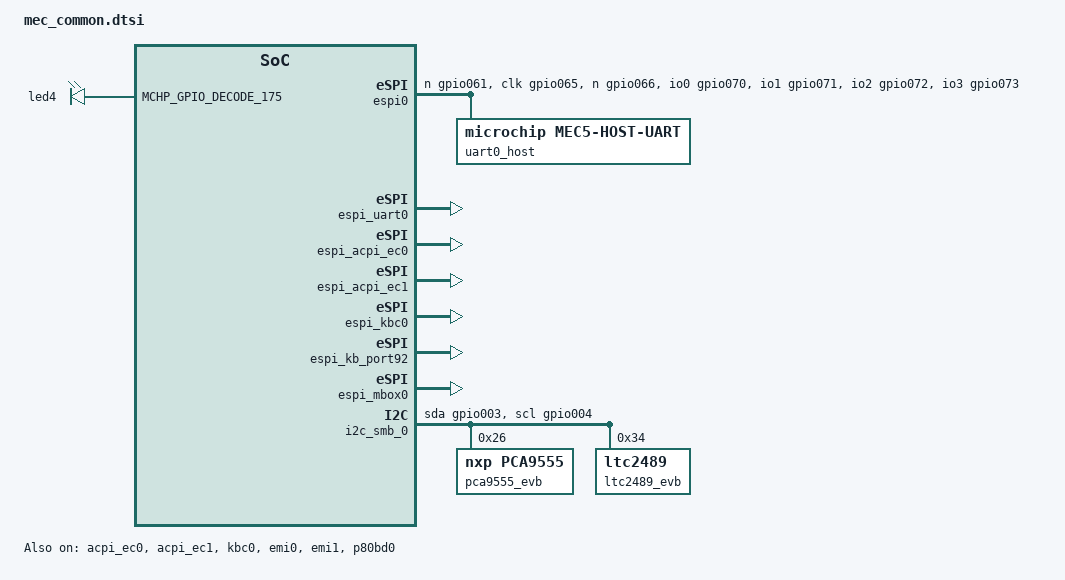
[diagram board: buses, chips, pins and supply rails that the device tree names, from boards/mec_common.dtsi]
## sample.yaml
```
sample:
  name: Exercise eSPI driver connected to real eSPI Host controller
tests:
  sample.boards.mec_assy6941.espi_target:
    build_only: true
    platform_allow:
      - mec_assy6941_mec1743qlj
      - mec_assy6941_mec1743qsz
      - mec_assy6941_mec1753qlj
      - mec_assy6941_mec1753qsz
    tags: drivers espi
```

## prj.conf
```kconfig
CONFIG_LOG=y
CONFIG_LOG_MODE_IMMEDIATE=y
#CONFIG_LOG_MODE_MINIMAL=y
# !!! WARNING: deferred and buffer size not working.
# !!! log_panic() does not output messages.
#CONFIG_LOG_MODE_DEFERRED=y
#CONFIG_LOG_BUFFER_SIZE=4096
CONFIG_LOG_BACKEND_UART=y
#CONFIG_LOG_BACKEND_SWO=y
#CONFIG_LOG_BACKEND_SWO_REF_FREQ_HZ=96000000
#CONFIG_LOG_BACKEND_SWO_FREQ_HZ=4000000

CONFIG_GPIO=y
CONFIG_PINCTRL=y
CONFIG_LED=y
CONFIG_SPI=y
CONFIG_SPI_EXTENDED_MODES=y
# CONFIG_SPI_MEC5_QSPI_INTERRUPT=y
CONFIG_SERIAL=y
CONFIG_CONSOLE=y
CONFIG_UART_CONSOLE=y
CONFIG_I2C=y
CONFIG_ESPI=y
CONFIG_ESPI_MEC5=y
CONFIG_ESPI_PERIPHERAL_8042_KBC=y
CONFIG_ESPI_PERIPHERAL_EC_HOST_CMD=y
CONFIG_ESPI_PERIPHERAL_ACPI_SHM_REGION=y
CONFIG_ESPI_PERIPHERAL_CUSTOM_OPCODE=y
CONFIG_ESPI_AUTOMATIC_WARNING_ACKNOWLEDGE=n
CONFIG_ESPI_AUTOMATIC_BOOT_DONE_ACKNOWLEDGE=n
CONFIG_ESPI_LOG_LEVEL_DBG=y

CONFIG_PM=n

# CONFIG_APP_INVERT_ESPI_CS_N=y

# Help debug new code
# CONFIG_DEBUG_COREDUMP=y
# CONFIG_TRAP_UNALIGNED_ACCESS=y
# CONFIG_SOC_MEC5_DEBUG_AND_TRACING=y
# CONFIG_SOC_MEC5_DEBUG_AND_SWV_TRACING=y
# CONFIG_DEBUG=y
```

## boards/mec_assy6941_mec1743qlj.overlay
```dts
/*
 * Copyright (c) 2023 Microchip Technology Inc.
 *
 * SPDX-License-Identifier: Apache-2.0
 */

/* mec_assy6941 EVB with MEC1743Q-LJ daughter card
 * MEC1743 does not have an internal SPI flash.
 */

#include "mec_common.dtsi"

&qspi0 {
	status = "okay";
	pinctrl-0 = < &qspi_shd_cs0_n_gpio055
		      &qspi_shd_clk_gpio056
		      &qspi_shd_io0_gpio223
		      &qspi_shd_io1_gpio224
		      &qspi_shd_io2_gpio227
		      &qspi_shd_io3_gpio016 >;
	pinctrl-names = "default";
};
```

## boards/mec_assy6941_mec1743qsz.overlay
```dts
/*
 * Copyright (c) 2023 Microchip Technology Inc.
 *
 * SPDX-License-Identifier: Apache-2.0
 */

/* mec_assy6941 EVB with MEC1743Q-SZ daughter card
 * MEC1743 does not have an internal SPI flash.
 */

#include "mec_common.dtsi"

&qspi0 {
	status = "okay";
	pinctrl-0 = < &qspi_shd_cs0_n_gpio055
		      &qspi_shd_clk_gpio056
		      &qspi_shd_io0_gpio223
		      &qspi_shd_io1_gpio224
		      &qspi_shd_io2_gpio227
		      &qspi_shd_io3_gpio016 >;
	pinctrl-names = "default";
};
```

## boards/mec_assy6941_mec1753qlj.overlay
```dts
/*
 * Copyright (c) 2023 Microchip Technology Inc.
 *
 * SPDX-License-Identifier: Apache-2.0
 */

/* mec_assy6941 EVB with MEC1753Q-LJ daughter card
 * MEC1753 does not have an internal SPI flash.
 */

#include "mec_common.dtsi"

&qspi0 {
	status = "okay";
	pinctrl-0 = < &qspi_shd_cs0_n_gpio055
		      &qspi_shd_clk_gpio056
		      &qspi_shd_io0_gpio223
		      &qspi_shd_io1_gpio224
		      &qspi_shd_io2_gpio227
		      &qspi_shd_io3_gpio016 >;
	pinctrl-names = "default";
};
```

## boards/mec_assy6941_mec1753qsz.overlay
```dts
/*
 * Copyright (c) 2023 Microchip Technology Inc.
 *
 * SPDX-License-Identifier: Apache-2.0
 */

/* mec_assy6941 EVB with MEC1753Q-SZ daughter card
 * MEC1753 does not have an internal SPI flash.
 */

#include "mec_common.dtsi"

&qspi0 {
	status = "okay";
	pinctrl-0 = < &qspi_shd_cs0_n_gpio055
		      &qspi_shd_clk_gpio056
		      &qspi_shd_io0_gpio223
		      &qspi_shd_io1_gpio224
		      &qspi_shd_io2_gpio227
		      &qspi_shd_io3_gpio016 >;
	pinctrl-names = "default";
};
```

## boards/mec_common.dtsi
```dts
/*
 * Copyright (c) 2024 Microchip Technology Inc.
 *
 * SPDX-License-Identifier: Apache-2.0
 */

#include <zephyr/dt-bindings/gpio/gpio.h>
#include <zephyr/dt-bindings/gpio/microchip-xec-gpio.h>
#include <zephyr/dt-bindings/espi/mchp-mec5-espi.h>

/* Sample runs MEC_ASSY6941 board with MEC174x or MEC175x CPU card installed.
 * -------------------------------------------
 * MEC5_ASSY6941 EVB with MEC1743Q-LJ CPU card
 * EVB power !! Selected one !!
 * Selected: Jumper on J1 5-6 selects +5V 2.1mm ID 5.5mm OD barrel connector from
 *  an external +5V power brick.
 * Jumper on J1 1-2 uses +5VCC_IN from edge connector Z1
 * Jumper on J1 3-4 uses VVD_+5V from variable voltage header J2-21
 * Jumper on J1 7-8 uses MCP2200_VBUS from MCP2200 using USB connector P2
 * Jumper on J1 9-10 uses USBPWR_FT4222 USB connector J62
 *
 * Configure VTR2 as 1.8V rail
 * JP32 2-3 +1.8V_STBY from 1.8V regulator
 * JP45 1-2 connect +1.8V_STBY to J68-3
 * JP68 3-4 connect +1.8V_STBY to JP62-1 and Q switch Q16
 * JP62 1-2 connect +1.8V_STBY to VTR2 bypassing Q switch
 * JP65 1-2 connects VTR2 to VCHIP_VTR2
 * NOTE: VTR3 is always 1.8V
 *
 * Use +3.3V and +1.8V generated by EVB regulators
 * JP231 1-2, JP33 2-3, JP31 2-3, JP32 2-3
 *
 * VTR1 voltage select +3.3V_STBY
 * JP43 1-2, JP159 1-2, JP58 1-2, JP60 1-2
 *
 * VTR2 voltage select +1.8V_STBY
 * JP45 1-2, J68 3-4, JP62 1-2, JP65 1-2
 *
 * VTR3 voltage select +1.8V_STBY
 * JP45 1-2, JP160 1-2, JP66 1-2, JP68 1-2
 *
 * Straps:
 * UART_BSTRAP: JP1
 * CR_STRAP: JP2
 * JTAG_STRAP: JP3
 * CMP_STRAP: JP4
 * PWRGD_STRAP: JP5
 * VTR2_STRAP: JP6
 * BSS_STRAP: JP7
 * BSS_STRAP: JP8 2-3
 * CRISIS_RECOVERY_STRAP: JP9
 *
 * Enable EVB eSPI voltage translators
 * JP110 1-2 U10 OE connected to VTR3 (enabled)
 * JP116 1-2 U12 and U13 nOE connected to VTR3 (disabled)
 *
 * The board acting as eSPI emulated host must have its QSPI
 * SHD_xxx pins on +1.8V. QSPI SHD pins are all on the VTR2 rail.
 * Connect QSPI pins from emulated Host board to this board:
 * SHD_nCS1 ->  ESPI_nCS J46-1  <-> U10 <-> ESPI_nRESET_R J52-19, JP114-1
 * SHD_CLK  ->  ESPI_CLK J46-3  <-> U10 <-> ESPI_CLK_R    J52-13
 * SHD_IO0  <-> ESPI_IO0 J46-5  <-> U10 <-> ESPI_IO0_R    J52-7
 * SHD_IO1  <-> ESPI_IO0 J46-7  <-> U10 <-> ESPI_IO1_R    J52-5
 * SHD_IO2  <-> ESPI_IO0 J46-9  <-> U10 <-> ESPI_IO2_R    J52-3
 * SHD_IO3  <-> ESPI_IO0 J46-11 <-> U10 <-> ESPI_IO3_R    J52-1
 *
 * Emulated eSPI Host uses a GPIO as ESPI_nRESET to Target
 * H2T_ESPI_nRESET -> ESPI_nRESET J46-15
 *
 * Emulated eSPI Host uses a GPIO as ESPI_nALERT to Target
 * H2T_ESPI_nALERT -> ESPI_nALERT J46-13
 *
 * Synchronization signals:
 * H2T_VCC_PWRGD -> VCC_PWRGD_ALT GPIO242 Func 3
 *
 * T2H_nREADY <- GPIO031(VTR1) output active low. Init to high
 *		J41-7
 *		JP75 21-22 100K pull-up. Do not install
 *		Pull-up enabled on eSPI Host Emulation board
 *
 * GPIO175/CMP_VOUT1/PWM8_ALT on schematic, LED4 on silkscreen.
 * JP19 16-17 connects GPIO175 as CMP_VOUT1
 *
 * I2C00_SDA/SCL = GPIO003/004 selection
 * Install Jumpers on JP15 4-5, JP15 7-8, JP27 31-32, JP27 34-35
 * If pull-ups on the EVB are required:
 * Install Jumper JP70 19-20 7.5K pull-up to VTR1 for I2C00_SCL
 * Install Jumper JP70 21-22 7.5K pull-up to VTR1 for I2C00_SDA
 *
 * I2C devices on EXTERNAL_SDA/SCL bus
 *
 * U4 is PCA9555 I2C GPIO expander
 * JP52 1-2 use +3.3V_STBY
 * JP61 1-2, 3-4 connects I2C00_SCL and I2C00_SDA to EXTERNAL_SCLK/SDATA
 * JP55 selects I2C address
 * 1-2 = A0, 3-4 = A1, 5-6 = A2 all pulled-up by default. Install jumper to ground signals.
 * Installed jumper on JP53 1-2. I2C Address = 0x26
 *
 * U18 is LTC2489CDE I2C 4-channel delta-sigma ADC
 * NOTE: LTC2489 is powered by +5V.
 * Address select pins CA0, CA1 both pulled high. Install jumpers to ground signals.
 * Installed jumpers on JP121 1-2 and 3-4. I2C Address = 0x34
 * VRef=3V J51 1-2
 * Channel 0 connected to Vin=2.048V JP120 1-2, J51 3-4
 */

/ {
	chosen {
		espi,os-acpi = &acpi_ec0;
		espi,host-cmd-acpi = &acpi_ec1;
		espi,host-mailbox = &mbox0;
		espi,host-shm = &emi0;
		espi,host-em8042 = &kbc0;
		espi,host-uart = &uart0;
		espi,host-io-capture = &p80bd0;
	};

	aliases {
		spi0 = &qspi0;
		led0 = &led4;
		i2c0 = &i2c_smb_0;
		i2c-0 = &i2c_smb_0;
	};

	leds {
		compatible = "gpio-leds";
		led4: led_0 {
			gpios = <MCHP_GPIO_DECODE_175 GPIO_ACTIVE_HIGH>;
		};
	};

	/* zephyr,user is a special case node for application & test use
	 * This node does not require a YAML binding file.
	 * espi-gpio pins
	 * index 0 = Target nREADY output to Host eSPI emulator
	 * index 1 = VCC_PWRGD_ALT drivent by external eSPI Emulated Host board
	 * In application code use GPIO_DT_SPEC_GET_BY_IDX() macro.
	 */
	zephyr,user {
		espi-gpios = <MCHP_GPIO_DECODE_031 GPIO_ACTIVE_HIGH>,
			     <MCHP_GPIO_DECODE_242 0>;
		pinctrl-0 = <&vcc_pwrgd_alt_gpio242 &pwrok_gpio106>;
		pinctrl-names = "default";
	};
};

&i2c00_scl_gpio004 {
	drive-open-drain;
	output-enable;
	output-high;
	drive-strength = "4x";
};

&i2c00_sda_gpio003 {
	drive-open-drain;
	output-enable;
	output-high;
	drive-strength = "4x";
};

/* ---- eSPI and peripheral channel devices ---- */

&espi0 {
	status = "okay";
	pinctrl-0 = < &espi_reset_n_gpio061
		      &espi_clk_gpio065 &espi_cs_n_gpio066
		      &espi_io0_gpio070 &espi_io1_gpio071
		      &espi_io2_gpio072 &espi_io3_gpio073 >;
	pinctrl-names = "default";
	host-memmap-addr-high = <0x10>; /* bits[47:32] of Host address for memory mapped LDNs */
	sram-bar-addr-high = <0x20>; /* bits[47:32] of Host address for SRAM BARs */

	/* We create a node here for the UART we will expose to the Host
	 * Doing this makes sure this node is a child of espi0 required
	 * by espi0's driver.
	 */
	uart0_host: uart0_host {
		compatible = "microchip,mec5-host-uart";
		pinctrl-0 = < &uart0_tx_gpio104 &uart0_rx_gpio105 >;
		pinctrl-names = "default";
		hwdev = <&uart0>;
		host-infos = <&espi_uart0>;
		status = "okay";
	};
};

/* Map UART0 to Host I/O address space */
&espi_uart0 {
	host-address = <0x3f8>;
	sirqs = <4>;
	status = "okay";
};

/* Enable eSPI SRAM BAR0 to map a 256 byte region of EC SRAM to Host
 * address space with read-only access.
 * ISSUE: region-base, shouldn't this be the address of an application buffer?
 */
&espi_sram_bar0 {
	host-address-lsw = <0x20000000>;
	region-base = <0x118000>;
	region-size = "256B";
	access = "READ_ONLY";
	status = "okay";
};

/* Enable eSPI SRAM BAR1 to map a 256 byte region of EC SRAM to Host
 * address space with write-only access.
 */
&espi_sram_bar1 {
	host-address-lsw = <0x20001000>;
	region-base = <0x118100>;
	region-size = "256B";
	access = "WRITE_ONLY";
	status = "okay";
};

/* eSPI Host OS ACPI_EC device */
&acpi_ec0 {
	compatible = "microchip,mec5-acpi-ec-os";
	host-infos = <&espi_acpi_ec0>;
	status = "okay";
};

&espi_acpi_ec0 {
	host-address = <0x62>;
	sirqs = <5>;
	sirq-names = "ec_obf";
	status = "okay";
};

/* eSPI Host command ACPI_EC device */
&acpi_ec1 {
	compatible = "microchip,mec5-acpi-ec-hcmd";
	host-infos = <&espi_acpi_ec1>;
	status = "okay";
};

&espi_acpi_ec1 {
	host-address = <0x200>;
	sirqs = <0xff>;
	sirq-names = "ec_obf";
	status = "okay";
};

/* Use eSPI Host KBC driver and map KBC0 and KB Port92h to Host I/O space */
&kbc0 {
	compatible = "microchip,mec5-kbc";
	host-infos = <&espi_kbc0 &espi_kb_port92>;
	status = "okay";
};

&espi_kbc0 {
	host-address = <0x60>;
	sirqs = <1 12>;
	sirq-names = "kirq", "mirq";
	status = "okay";
};

&espi_kb_port92 {
	host-address = <0x92>;
	status = "okay";
};

/* Use eSPI Mailbox driver and map mailbox to Host I/O space */
&mbox0 {
	compatible="microchip,mec5-mailbox";
	host-infos = <&espi_mbox0>;
	status = "okay";
};

&espi_mbox0 {
	host-address = <0x300>;
	sirqs = <0xff 0xff>;
	status = "okay";
};

/* Map EMI0 to Host memory address space. */
&emi0 {
	compatible = "microchip,mec5-shm-emi";
	host-infos = <&espi_emi0>;
	status = "okay";
};

&espi_emi0 {
	host-address = <0x10000000>;
	host-mem-space;
};

/* Map EMI1 to Host memory address space */
&emi1 {
	compatible = "microchip,mec5-shm-emi";
	host-infos = <&espi_emi1>;
	status = "okay";
};

&espi_emi1 {
	host-address = <0x10001000>;
	host-mem-space;
};

/* eSPI Host I/O capture device. Map 4-byte Host I/O capture range and
 * optional 1-byte I/O alias.
 */
&p80bd0 {
	compatible = "microchip,mec5-bdp";
	host-infos = <&espi_bdp0 &espi_bdpa0>;
	status = "okay";
};

&espi_bdp0 {
	host-address = <0x80>;
};

&espi_bdpa0 {
	host-address = <0x90>;
	bdp-host-alias-byte-lane = <1>;
};

&i2c_smb_0 {
	status = "okay";
	port_sel = < 0 >;
	sda-gpios = < MCHP_GPIO_DECODE_003 0 >;
	scl-gpios = < MCHP_GPIO_DECODE_004 0 >;
	pinctrl-0 = < &i2c00_sda_gpio003 &i2c00_scl_gpio004 >;
	pinctrl-names = "default";

	pca9555_evb: pca9555@26 {
		compatible = "nxp,pca9555";
		reg = <0x26>;
		gpio-controller;
		#gpio-cells = <2>;
	};

	ltc2489_evb: ltc2489@34 {
		/* No Zephyr driver exists */
		reg = <0x34>;
		#io-channels-cells = <1>;
	};
};
```

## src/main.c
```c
/*
 * Copyright (c) 2023 Microchip Technology, Inc.
 *
 * SPDX-License-Identifier: Apache-2.0
 */

#include <errno.h>
#include <stdint.h>
#include <string.h>
#include <soc.h>
#include <mec_acpi_ec_api.h>
#include <mec_espi_api.h>
#include <mec_pcr_api.h>

#include <zephyr/device.h>
#include <zephyr/devicetree.h>
#include <zephyr/kernel.h>
#include <zephyr/drivers/espi.h>
#include <zephyr/drivers/gpio.h>
#include <zephyr/drivers/led.h>
#include <zephyr/drivers/pinctrl.h>
#include <zephyr/sys/sys_io.h>

#include <zephyr/logging/log_ctrl.h>
#include <zephyr/logging/log.h>
LOG_MODULE_REGISTER(app, CONFIG_LOG_DEFAULT_LEVEL);

#include "espi_debug.h"

/* #define APP_ESPI_EVENT_CAPTURE */

#define ZEPHYR_USER_NODE DT_PATH(zephyr_user)
#define ESPI0_NODE       DT_NODELABEL(espi0)

PINCTRL_DT_DEFINE(ZEPHYR_USER_NODE);

const struct pinctrl_dev_config *app_pinctrl_cfg = PINCTRL_DT_DEV_CONFIG_GET(ZEPHYR_USER_NODE);

const struct gpio_dt_spec target_n_ready_out_dt =
	GPIO_DT_SPEC_GET_BY_IDX(ZEPHYR_USER_NODE, espi_gpios, 0);

const struct gpio_dt_spec vcc_pwrgd_alt_in_dt =
	GPIO_DT_SPEC_GET_BY_IDX(ZEPHYR_USER_NODE, espi_gpios, 1);

static const struct device *espi_dev = DEVICE_DT_GET(ESPI0_NODE);

struct espi_io_regs *const espi_iobase = (struct espi_io_regs *)DT_REG_ADDR_BY_NAME(ESPI0_NODE, io);

#define OS_ACPI_EC_NODE DT_CHOSEN(espi_os_acpi)
struct acpi_ec_regs *const os_acpi_ec_regs = (struct acpi_ec_regs *)DT_REG_ADDR(OS_ACPI_EC_NODE);

static volatile uint32_t spin_val;
static volatile int ret_val;
static volatile int app_main_exit;

struct espi_cfg ecfg;
struct espi_callback espi_cb_reset;
struct espi_callback espi_cb_chan_ready;
struct espi_callback espi_cb_vw;
struct espi_callback espi_cb_periph;
struct gpio_callback gpio_cb_vcc_pwrgd;

#define ESPI_CHAN_READY_PC_IDX 0
#define ESPI_CHAN_READY_VW_IDX 1
#define ESPI_CHAN_READY_OOB_IDX 2
#define ESPI_CHAN_READY_FC_IDX 3
volatile uint8_t chan_ready[4];

#ifdef APP_ESPI_EVENT_CAPTURE
/* Use Zephyr FIFO for eSPI events */
struct espi_ev_data {
	void *fifo_reserved;
	struct espi_event ev;
};

BUILD_ASSERT(((sizeof(struct espi_ev_data) % 4) == 0),
	"!!! struct espi_ev_data size is not a multiple of 4 !!!");

struct k_fifo espi_ev_fifo;

#define MAX_ESPI_EVENTS 64
atomic_t espi_ev_count = ATOMIC_INIT(0);
static struct espi_ev_data espi_evs[MAX_ESPI_EVENTS];

static struct espi_ev_data *get_espi_ev_data(void);
static int init_espi_events(struct espi_ev_data *evs, size_t nevents);
static int push_espi_event(struct k_fifo *the_fifo, struct espi_ev_data *evd);
/* Not used static int pop_espi_event(struct k_fifo *the_fifo, struct espi_event *ev); */
/* Not used static void print_espi_event(struct espi_event *ev); */
static void print_espi_events(struct k_fifo *the_fifo);
#endif /* APP_ESPI_EVENT_CAPTURE */

static void spin_on(uint32_t id, int rval);

static void espi_reset_cb(const struct device *dev,
			  struct espi_callback *cb,
			  struct espi_event ev);

static void espi_chan_ready_cb(const struct device *dev,
			       struct espi_callback *cb,
			       struct espi_event ev);

static void espi_vw_received_cb(const struct device *dev,
				struct espi_callback *cb,
				struct espi_event ev);

static void espi_periph_cb(const struct device *dev,
			   struct espi_callback *cb,
			   struct espi_event ev);

#define GPIO_0242_PIN_MASK BIT(2)
static void gpio_cb(const struct device *port,
		    struct gpio_callback *cb,
		    gpio_port_pins_t pins);

int main(void)
{
	int ret = 0;
	bool vw_en = false;
	bool oob_en = false;
	bool fc_en = false;
	bool pc_en = false;
	uint8_t vw_state = 0;

	LOG_INF("MEC5 eSPI Target sample application for board: %s", DT_N_COMPAT_MODEL_IDX_0);
#ifdef APP_ESPI_EVENT_CAPTURE
	k_fifo_init(&espi_ev_fifo);
	init_espi_events(espi_evs, MAX_ESPI_EVENTS);
#endif
	ret = pinctrl_apply_state(app_pinctrl_cfg, PINCTRL_STATE_DEFAULT);
	if (ret) {
		LOG_ERR("App pin control state apply: %d", ret);
		spin_on((uint32_t)__LINE__, 1);
	}

	ret = gpio_pin_configure_dt(&target_n_ready_out_dt, GPIO_OUTPUT_HIGH);
	if (ret) {
		LOG_ERR("Configure Target_nReady GPIO as output hi (%d)", ret);
		spin_on((uint32_t)__LINE__, 2);
	}

	gpio_init_callback(&gpio_cb_vcc_pwrgd, gpio_cb, GPIO_0242_PIN_MASK);
	ret = gpio_add_callback_dt(&vcc_pwrgd_alt_in_dt, &gpio_cb_vcc_pwrgd);
	if (ret) {
		LOG_ERR("GPIO add callback for VCC_PWRGD error (%d)", ret);
		spin_on((uint32_t)__LINE__, ret);
	}

	ret = gpio_pin_configure_dt(&vcc_pwrgd_alt_in_dt, GPIO_INPUT);
	if (ret) {
		LOG_ERR("Configure Target_nReady GPIO as output hi (%d)", ret);
		spin_on((uint32_t)__LINE__, 2);
	}

	ret =  gpio_pin_interrupt_configure_dt(&vcc_pwrgd_alt_in_dt,
					       (GPIO_INPUT | GPIO_INT_EDGE_BOTH));
	if (ret) {
		LOG_ERR("GPIO interrupt config for VCC_PWRGD error (%d)", ret);
		spin_on((uint32_t)__LINE__, ret);
	}

	/* let pins settle */
	k_sleep(K_MSEC(10));

	if (!device_is_ready(espi_dev)) {
		LOG_ERR("eSPI device is not ready! (%d)", -1);
		spin_on((uint32_t)__LINE__, 3);
	}

	LOG_INF("eSPI driver is ready");

	LOG_INF("Releasing SoC internal RESET_VCC. Unblocks VCC_PWRGD input");
	mec_pcr_release_reset_vcc(1);

	LOG_INF("Platform configuration: Select nPLTRST = eSPI nPLTRST VWire");
	mec_pcr_host_reset_select(MEC_PCR_PLATFORM_RST_IS_ESPI_PLTRST);

	LOG_INF("Call eSPI driver config API");
	ecfg.io_caps = ESPI_IO_MODE_SINGLE_LINE;
	ecfg.channel_caps = (ESPI_CHANNEL_PERIPHERAL | ESPI_CHANNEL_VWIRE
			     | ESPI_CHANNEL_OOB | ESPI_CHANNEL_FLASH);
	ecfg.max_freq = 20u;

	ret = espi_config(espi_dev, &ecfg);
	if (ret) {
		LOG_ERR("eSPI configuration API error (%d)", ret);
		spin_on((uint32_t)__LINE__, ret);
	}

	LOG_INF("eSPI Target after config");
	espi_debug_print_config();

	LOG_INF("Target eSPI: register event callbacks");
	espi_cb_reset.handler = espi_reset_cb;
	espi_cb_reset.evt_type = ESPI_BUS_RESET;
	ret = espi_add_callback(espi_dev, &espi_cb_reset);
	if (ret) {
		LOG_ERR("Add callback for eSPI Reset error (%d)", ret);
		spin_on((uint32_t)__LINE__, ret);
	}

	espi_cb_chan_ready.handler = espi_chan_ready_cb;
	espi_cb_chan_ready.evt_type = ESPI_BUS_EVENT_CHANNEL_READY;
	ret = espi_add_callback(espi_dev, &espi_cb_chan_ready);
	if (ret) {
		LOG_ERR("Add callback for VW ChanEn error (%d)", ret);
		spin_on((uint32_t)__LINE__, ret);
	}

	espi_cb_vw.handler = espi_vw_received_cb;
	espi_cb_vw.evt_type = ESPI_BUS_EVENT_VWIRE_RECEIVED;
	ret = espi_add_callback(espi_dev, &espi_cb_vw);
	if (ret) {
		LOG_ERR("Add callback for VW received error (%d)", ret);
		spin_on((uint32_t)__LINE__, ret);
	}

	espi_cb_periph.handler = espi_periph_cb;
	espi_cb_periph.evt_type = ESPI_BUS_PERIPHERAL_NOTIFICATION;
	ret = espi_add_callback(espi_dev, &espi_cb_periph);
	if (ret) {
		LOG_ERR("Add callback for peripheral channel error (%d)", ret);
		spin_on((uint32_t)__LINE__, ret);
	}

	LOG_INF("Signal Host emulator Target is Ready");
	ret = gpio_pin_set_dt(&target_n_ready_out_dt, 0);

	/* poll channel enables */
	LOG_INF("Poll driver for VW channel enable");
	do {
		vw_en = espi_get_channel_status(espi_dev, ESPI_CHANNEL_VWIRE);
	} while (!vw_en);
	LOG_INF("VW channel is enabled");

	LOG_INF("Poll driver for OOB channel enable");
	do {
		oob_en = espi_get_channel_status(espi_dev, ESPI_CHANNEL_OOB);
	} while (!oob_en);
	LOG_INF("OOB channel is enabled");

	LOG_INF("Poll driver for Flash channel enable");
	do {
		fc_en = espi_get_channel_status(espi_dev, ESPI_CHANNEL_FLASH);
	} while (!fc_en);
	LOG_INF("Flash channel is enabled");

	LOG_INF("Call eSPI driver to send VW TARGET_BOOT_LOAD_DONE/STATUS = 1");
	ret = espi_send_vwire(espi_dev, ESPI_VWIRE_SIGNAL_TARGET_BOOT_STS, 1);
	if (ret) {
		LOG_ERR("eSPI driver send ESPI_VWIRE_SIGNAL_TARGET_BOOT_STS=1 error (%d)", ret);
		spin_on((uint32_t)__LINE__, ret);
	}
	ret = espi_send_vwire(espi_dev, ESPI_VWIRE_SIGNAL_TARGET_BOOT_DONE, 1);
	if (ret) {
		LOG_ERR("eSPI driver send ESPI_VWIRE_SIGNAL_TARGET_BOOT_DONE=1 error (%d)", ret);
		spin_on((uint32_t)__LINE__, ret);
	}

	LOG_INF("Poll driver for Peripheral channel enable");
	do {
		pc_en = espi_get_channel_status(espi_dev, ESPI_CHANNEL_PERIPHERAL);
	} while (!pc_en);
	LOG_INF("Peripheral channel is enabled");

	k_sleep(K_MSEC(1000));

	LOG_INF("Send EC_IRQ=7 Serial IRQ to the Host");
	mec_espi_ld_sirq_set(espi_iobase, MEC_ESPI_LDN_EC, 0, 7u);
	mec_espi_gen_ec_sirq(espi_iobase);

	k_sleep(K_MSEC(500));

	LOG_INF("Toggle nSCI VWire");
	vw_state = 0;
	ret = espi_receive_vwire(espi_dev, ESPI_VWIRE_SIGNAL_SCI, &vw_state);
	if (ret) {
		LOG_ERR("Driver receive VWire error (%d)", ret);
		spin_on((uint32_t)__LINE__, ret);
	}

	vw_state ^= BIT(0);
	ret = espi_send_vwire(espi_dev, ESPI_VWIRE_SIGNAL_SCI, vw_state);
	if (ret) {
		LOG_ERR("Driver receive VWire error (%d)", ret);
		spin_on((uint32_t)__LINE__, ret);
	}

	k_sleep(K_MSEC(500)); /* delay due to Host eSPI emulator polling */

	vw_state ^= BIT(0);
	ret = espi_send_vwire(espi_dev, ESPI_VWIRE_SIGNAL_SCI, vw_state);
	if (ret) {
		LOG_ERR("Driver receive VWire error (%d)", ret);
		spin_on((uint32_t)__LINE__, ret);
	}

#ifdef APP_ESPI_EVENT_CAPTURE
	LOG_INF("Print events");
	while (run) {
		print_espi_events(&espi_ev_fifo);
	}
#endif

	LOG_INF("Application Done");
	spin_on(256, 0);
	app_main_exit = 1;

	return 0;
}

static void spin_on(uint32_t id, int rval)
{
	spin_val = id;
	ret_val = rval;

	LOG_INF("spin id = %u", id);
	log_panic(); /* flush log buffers */

	while (spin_val) {
		;
	}
}

/* GPIO callbacks */
static void gpio_cb(const struct device *port,
		    struct gpio_callback *cb,
		    gpio_port_pins_t pins)
{
	if (pins & GPIO_0242_PIN_MASK) {
		int state = gpio_pin_get_dt(&vcc_pwrgd_alt_in_dt);

		LOG_INF("GPIO CB: VCC_PWRGD_ALT = %d", state);
	} else {
		LOG_ERR("GPIO CB: unknown pin 0x%08x", pins);
	}
}

/* eSPI driver callbacks */
static void espi_reset_cb(const struct device *dev,
			  struct espi_callback *cb,
			  struct espi_event ev)
{
#ifdef APP_ESPI_EVENT_CAPTURE
	struct espi_ev_data *pevd = get_espi_ev_data();

	if (pevd) {
		pevd->ev.evt_type = ev.evt_type;
		pevd->ev.evt_details = ev.evt_details;
		pevd->ev.evt_data = ev.evt_data;
		push_espi_event(&espi_ev_fifo, pevd);
	}
#endif
	LOG_INF("eSPI CB: eSPI_nReset");
}

static void espi_chan_ready_cb(const struct device *dev,
			       struct espi_callback *cb,
			       struct espi_event ev)
{
#ifdef APP_ESPI_EVENT_CAPTURE
	struct espi_ev_data *pevd = NULL;

	pevd = get_espi_ev_data();
	if (pevd) {
		pevd->ev.evt_type = ev.evt_type;
		pevd->ev.evt_details = ev.evt_details;
		pevd->ev.evt_data = ev.evt_data;
		push_espi_event(&espi_ev_fifo, pevd);
	}
#endif

	LOG_INF("eSPI CB: channel ready: %u 0x%x 0x%x",
		ev.evt_type, ev.evt_data, ev.evt_details);

	if (ev.evt_details == ESPI_CHANNEL_VWIRE) {
		if (ev.evt_data == 1) {
			chan_ready[ESPI_CHAN_READY_VW_IDX] = 1;
		} else {
			chan_ready[ESPI_CHAN_READY_VW_IDX] = 0;
		}
	}

	if (ev.evt_details == ESPI_CHANNEL_PERIPHERAL) {
		if (ev.evt_data == 1) {
			chan_ready[ESPI_CHAN_READY_PC_IDX] = 1;
		} else {
			chan_ready[ESPI_CHAN_READY_PC_IDX] = 0;
		}
	}

	if (ev.evt_details == ESPI_CHANNEL_OOB) {
		if (ev.evt_data == 1) {
			chan_ready[ESPI_CHAN_READY_OOB_IDX] = 1;
		} else {
			chan_ready[ESPI_CHAN_READY_OOB_IDX] = 0;
		}
	}

	if (ev.evt_details == ESPI_CHANNEL_FLASH) {
		if (ev.evt_data == 1) {
			chan_ready[ESPI_CHAN_READY_FC_IDX] = 1;
		} else {
			chan_ready[ESPI_CHAN_READY_FC_IDX] = 0;
		}
	}
}

static void espi_vw_received_cb(const struct device *dev,
			       struct espi_callback *cb,
			       struct espi_event ev)
{
#ifdef APP_ESPI_EVENT_CAPTURE
	struct espi_ev_data *pevd = NULL;

	pevd = get_espi_ev_data();
	if (pevd) {
		pevd->ev.evt_type = ev.evt_type;
		pevd->ev.evt_details = ev.evt_details;
		pevd->ev.evt_data = ev.evt_data;
		push_espi_event(&espi_ev_fifo, pevd);
	}
#endif
	LOG_INF("eSPI CB: VW received: %u 0x%x 0x%x",
		ev.evt_type, ev.evt_data, ev.evt_details);
}

static void app_handle_acpi_ec(struct acpi_ec_regs *os_acpi_ec_regs)
{
	uint32_t data;
	uint8_t four_byte_mode, status;

	status = mec_acpi_ec_status(os_acpi_ec_regs);
	four_byte_mode = mec_acpi_ec_is_4byte_mode(os_acpi_ec_regs);

	if (status & MEC_ACPI_EC_STS_CMD) {
		data = mec_acpi_ec_host_to_ec_data_rd8(os_acpi_ec_regs, 0);
		LOG_INF("App ACPI_EC Clear IBF: Command received: 0x%02x", data & 0xffu);
	} else {
		if (four_byte_mode) {
			data = mec_acpi_ec_host_to_ec_data_rd32(os_acpi_ec_regs);
			LOG_INF("App ACPI_EC Clear IBF: 4-byte Data: 0x%04x", data);
		} else {
			data = mec_acpi_ec_host_to_ec_data_rd32(os_acpi_ec_regs);
			LOG_INF("App ACPI_EC Clear IBF: Data: 0x%02x", data & 0xffu);
		}
	}
	mec_acpi_ec_girq_clr(os_acpi_ec_regs, MEC_ACPI_EC_IBF_IRQ | MEC_ACPI_EC_OBE_IRQ);
}

static void espi_periph_cb(const struct device *dev,
			   struct espi_callback *cb,
			   struct espi_event ev)
{
	uint32_t details;
#ifdef APP_ESPI_EVENT_CAPTURE
	struct espi_ev_data *pevd = NULL;

	pevd = get_espi_ev_data();
	if (pevd) {
		pevd->ev.evt_type = ev.evt_type;
		pevd->ev.evt_details = ev.evt_details;
		pevd->ev.evt_data = ev.evt_data;
		push_espi_event(&espi_ev_fifo, pevd);
	}
#endif
	LOG_INF("eSPI CB: PC: %u 0x%x 0x%x", ev.evt_type, ev.evt_data, ev.evt_details);

	details = ev.evt_details & 0xffu;
	if (details == ESPI_PERIPHERAL_UART) {
		LOG_INF("  PC Host UART");
	} else if (details == ESPI_PERIPHERAL_8042_KBC) {
		LOG_INF("  PC 8042-KBC IBF");
	} else if (details == ESPI_PERIPHERAL_HOST_IO) {
		LOG_INF("  PC Host I/O");
#ifndef CONFIG_ESPI_PERIPHERAL_ACPI_EC_IBF_EVT_DATA
	/* if not defined the driver ISR does not clear ACPI_EC IBF status
	 * resulting in the interrupt not being cleared! Application must handle it.
	 * This means application must know which hardware ACPI_EC instance is being
	 * used. ACPI_EC definition requires reading data OS wrote to clear HW input
	 * buffer full (IBF) status.
	 */
		app_handle_acpi_ec(os_acpi_ec_regs);
#endif
	} else if (details == ESPI_PERIPHERAL_DEBUG_PORT80) {
		LOG_INF("  PC BIOS Debug I/O capture");
	} else if (details == ESPI_PERIPHERAL_HOST_IO_PVT) {
		LOG_INF("  PC Host PVT I/O");
	} else if (details == ESPI_PERIPHERAL_EC_HOST_CMD) {
		LOG_INF("  PC Host EC Cmd");
	} else if (details == ESPI_PERIPHERAL_HOST_MAILBOX) {
		LOG_INF("  PC Mailbox");
	}
}

#ifdef APP_ESPI_EVENT_CAPTURE
struct espi_vw_znames {
	enum espi_vwire_signal signal;
	const char *name_cstr;
};

const struct espi_vw_znames vw_names[] = {
	{ ESPI_VWIRE_SIGNAL_SLP_S3, "SLP_S3#" },
	{ ESPI_VWIRE_SIGNAL_SLP_S4, "SLP_S4#" },
	{ ESPI_VWIRE_SIGNAL_SLP_S5, "SLP_S5#" },
	{ ESPI_VWIRE_SIGNAL_OOB_RST_WARN, "OOB_RST_WARN" },
	{ ESPI_VWIRE_SIGNAL_PLTRST, "PLTRST#" },
	{ ESPI_VWIRE_SIGNAL_SUS_STAT, "SUS_STAT#" },
	{ ESPI_VWIRE_SIGNAL_NMIOUT, "NMIOUT#" },
	{ ESPI_VWIRE_SIGNAL_SMIOUT, "SMIOUT#" },
	{ ESPI_VWIRE_SIGNAL_HOST_RST_WARN, "HOST_RST_WARN" },
	{ ESPI_VWIRE_SIGNAL_SLP_A, "SLP_A#" },
	{ ESPI_VWIRE_SIGNAL_SUS_PWRDN_ACK, "SUS_PWRDN_ACK" },
	{ ESPI_VWIRE_SIGNAL_SUS_WARN, "SUS_WARN#" },
	{ ESPI_VWIRE_SIGNAL_SLP_WLAN, "SLP_WLAN#" },
	{ ESPI_VWIRE_SIGNAL_SLP_LAN, "SLP_LAN#" },
	{ ESPI_VWIRE_SIGNAL_HOST_C10, "HOST_C10" },
	{ ESPI_VWIRE_SIGNAL_DNX_WARN, "DNX_WARN" },
	{ ESPI_VWIRE_SIGNAL_PME, "PME#" },
	{ ESPI_VWIRE_SIGNAL_WAKE, "WAKE#" },
	{ ESPI_VWIRE_SIGNAL_OOB_RST_ACK, "OOB_RST_ACK" },
	{ ESPI_VWIRE_SIGNAL_TARGET_BOOT_STS, "TARGET_BOOT_STS" },
	{ ESPI_VWIRE_SIGNAL_ERR_NON_FATAL, "ERR_NON_FATAL" },
	{ ESPI_VWIRE_SIGNAL_ERR_FATAL, "ERR_FATAL" },
	{ ESPI_VWIRE_SIGNAL_TARGET_BOOT_DONE, "TARGET_BOOT_DONE" },
	{ ESPI_VWIRE_SIGNAL_HOST_RST_ACK, "HOST_RST_ACK" },
	{ ESPI_VWIRE_SIGNAL_RST_CPU_INIT, "RST_CPU_INIT" },
	{ ESPI_VWIRE_SIGNAL_SMI, "SMI#" },
	{ ESPI_VWIRE_SIGNAL_SCI, "SCI#" },
	{ ESPI_VWIRE_SIGNAL_DNX_ACK, "DNX_ACK" },
	{ ESPI_VWIRE_SIGNAL_SUS_ACK, "SUS_ACK#" },
	{ ESPI_VWIRE_SIGNAL_TARGET_GPIO_0, "TARGET_GPIO_0" },
	{ ESPI_VWIRE_SIGNAL_TARGET_GPIO_1, "TARGET_GPIO_1" },
	{ ESPI_VWIRE_SIGNAL_TARGET_GPIO_2, "TARGET_GPIO_2" },
	{ ESPI_VWIRE_SIGNAL_TARGET_GPIO_3, "TARGET_GPIO_3" },
	{ ESPI_VWIRE_SIGNAL_TARGET_GPIO_4, "TARGET_GPIO_4" },
	{ ESPI_VWIRE_SIGNAL_TARGET_GPIO_5, "TARGET_GPIO_5" },
	{ ESPI_VWIRE_SIGNAL_TARGET_GPIO_6, "TARGET_GPIO_6" },
	{ ESPI_VWIRE_SIGNAL_TARGET_GPIO_7, "TARGET_GPIO_7" },
	{ ESPI_VWIRE_SIGNAL_TARGET_GPIO_8, "TARGET_GPIO_8" },
	{ ESPI_VWIRE_SIGNAL_TARGET_GPIO_9, "TARGET_GPIO_9" },
	{ ESPI_VWIRE_SIGNAL_TARGET_GPIO_10, "TARGET_GPIO_10" },
	{ ESPI_VWIRE_SIGNAL_TARGET_GPIO_11, "TARGET_GPIO_11" },
};

const char *unknown_vwire = "Unknown VWire";

static const char *get_vw_name(uint32_t vwire_enum_val)
{
	for (size_t n = 0; n < ARRAY_SIZE(vw_names); n++) {
		const struct espi_vw_znames *vwn = &vw_names[n];

		if (vwn->signal == (enum espi_vwire_signal)vwire_enum_val) {
			return vwn->name_cstr;
		}
	}

	return unknown_vwire;
}

static int init_espi_events(struct espi_ev_data *evs, size_t nevents)
{
	if (!evs) {
		return -EINVAL;
	}

	memset(evs, 0, sizeof(struct espi_ev_data) * nevents);

	return 0;
}

static struct espi_ev_data *get_espi_ev_data(void)
{
	struct espi_ev_data *p = NULL;
	atomic_val_t evcnt = atomic_get(&espi_ev_count);

	if (evcnt >= MAX_ESPI_EVENTS) {
		return NULL;
	}

	p = &espi_evs[evcnt];
	atomic_inc(&espi_ev_count);

	return p;
}

static int push_espi_event(struct k_fifo *the_fifo, struct espi_ev_data *evd)
{
	if (!the_fifo || !evd) {
		return -EINVAL;
	}

	/* safe for ISRs */
	k_fifo_put(the_fifo, evd);

	return 0;
}

static int pop_espi_event(struct k_fifo *the_fifo, struct espi_event *ev)
{
	struct espi_ev_data *p = NULL;
	struct espi_event *pev = NULL;

	if (!the_fifo || !ev) {
		return -EINVAL;
	}

	if (k_fifo_is_empty(the_fifo)) {
		return -EAGAIN;
	}

	p = k_fifo_get(the_fifo, K_NO_WAIT);
	pev = &p->ev;
	ev->evt_type = pev->evt_type;
	ev->evt_data = pev->evt_data;
	ev->evt_details = pev->evt_details;

	return 0;
}

static void pr_decode_espi_event(uint32_t evt_type, uint32_t evt_data, uint32_t evt_details)
{
	switch (evt_type) {
	case ESPI_BUS_RESET:
		LOG_INF("eSPI Event: Bus Reset: data=0x%0x details=0x%0x", evt_data, evt_details);
		break;
	case ESPI_BUS_EVENT_CHANNEL_READY:
		LOG_INF("eSPI Event: Channel Ready: data=0x%0x details=0x%0x",
			evt_data, evt_details);
		break;
	case ESPI_BUS_EVENT_VWIRE_RECEIVED:
		const char *vwname = get_vw_name(evt_details);

		LOG_INF("eSPI Event: Host-to-Target VW Received: data=0x%0x details=0x%0x VW=%s",
			evt_data, evt_details, vwname);
		break;
	case ESPI_BUS_EVENT_OOB_RECEIVED:
		LOG_INF("eSPI Event: OOB Received: data=0x%0x details=0x%0x",
			evt_data, evt_details);
		break;
	case ESPI_BUS_PERIPHERAL_NOTIFICATION:
		LOG_INF("eSPI Event: Peripheral Notification: data=0x%0x details=0x%0x",
			evt_data, evt_details);
		break;
	case ESPI_BUS_SAF_NOTIFICATION:
		LOG_INF("eSPI Event: SAF Notification: data=0x%0x details=0x%0x",
			evt_data, evt_details);
		break;
	default:
		LOG_INF("eSPI Event: Unknown type=%u, data=0x%0x details=0x%0x",
			evt_type, evt_data, evt_details);
		break;
	}
}

static void print_espi_event(struct espi_event *ev)
{
	uint32_t t, dat, det;

	if (!ev) {
		return;
	}

	t = ev->evt_type;
	dat = ev->evt_data;
	det = ev->evt_details;
	pr_decode_espi_event(t, dat, det);
}

/* Print out the remaining events in the FIFO */
static void print_espi_events(struct k_fifo *the_fifo)
{
	struct espi_ev_data *p = NULL;
	uint32_t t = 0, dat = 0, det = 0;

	if (!the_fifo) {
		return;
	}

	p = k_fifo_get(the_fifo, K_NO_WAIT);
	while (p) {
		t = p->ev.evt_type;
		dat = p->ev.evt_data;
		det = p->ev.evt_details;
		pr_decode_espi_event(t, dat, det);
	}
}
#endif /* APP_ESPI_EVENT_CAPTURE */
```

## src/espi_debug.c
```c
/*
 * Copyright (c) 2023 Microchip Technology, Inc.
 *
 * SPDX-License-Identifier: Apache-2.0
 */

#include <errno.h>
#include <stdint.h>
#include <string.h>

#include <soc.h>

#include <zephyr/device.h>
#include <zephyr/devicetree.h>
#include <zephyr/kernel.h>
#include <zephyr/drivers/gpio.h>
#include <zephyr/drivers/pinctrl.h>
#include <zephyr/sys/sys_io.h>

#include <zephyr/logging/log_ctrl.h>
#include <zephyr/logging/log.h>
LOG_MODULE_DECLARE(app);

#include "espi_debug.h"

const char *iobar_names[] = {
	"eSPI Config Port IOB",
	"eSPI Mem Port IOB",
	"Mailbox IOB",
	"KBC IOB",
	"ACPI EC0 IOB",
	"ACPI EC1 IOB",
	"ACPI EC2 IOB",
	"ACPI EC3 IOB",
	"ACPI EC4 IOB",
	"ACPI PM1 IOB",
	"KB Port92h IOB",
	"UART0 IOB",
	"UART1 IOB",
	"EMI0 IOB",
	"EMI1 IOB",
	"EMI2 IOB",
	"BIOS Debug IOB",
	"BIOS Debug Alias IOB",
	"RTC IOB",
	"Reserved19",
	"T32B IOB",
	"UART2 IOB",
	"Glue IOB",
	"UART3 IOB",
	"Reserved24",
	"Reserved25",
	"Reserved26",
	"Reserved27",
	"Reserved28",
	"Reserved29",
	"Reserved30",
	"Reserved31",
};

const char *membar_names[] = {
	"Mailbox MEMB",
	"ACPI EC0 MEMB",
	"ACPI EC1 MEMB",
	"ACPI EC2 MEMB",
	"ACPI EC3 MEMB",
	"ACPI EC4 MEMB",
	"EMI0 MEMB",
	"EMI1 MEMB",
	"EMI2 MEMB",
	"T32B MEMB",
};

void espi_debug_print_config(void)
{
	mem_addr_t maddr;
	uint32_t data;

	maddr = (mem_addr_t)&ESPI_IO->CAPID;
	data = sys_read32(maddr);
	LOG_HEXDUMP_INF(&data, 4, "eSPI CapID:Cap0:Cap1:PC_Cap");

	maddr = (mem_addr_t)&ESPI_IO->CAPVW;
	data = sys_read32(maddr);
	LOG_HEXDUMP_INF(&data, 4, "eSPI VW_Cap:OOB_Cap:FC_Cap:PCRDY");

	maddr = (mem_addr_t)&ESPI_IO->OOBRDY;
	data = sys_read32(maddr);
	LOG_HEXDUMP_INF(&data, 4, "eSPI OOBRDY:FCRDY:ERIS:ERIE");

	maddr = (mem_addr_t)&ESPI_IO->PLTRST_SRC;
	data = sys_read32(maddr);
	LOG_HEXDUMP_INF(&data, 4, "eSPI PLTRST_SRC:VWRDY:SAFEBS:RSVD");

	LOG_INF("eSPI Activate = %u", ESPI_IO->ACTV);

	LOG_INF("eSPI PC.Status = 0x%08x", ESPI_IO->PCSTS);
	LOG_INF("eSPI VW.Status = 0x%02x", ESPI_IO->VWSTS);
}

void espi_debug_print_io_bars(void)
{
	uint32_t n, iobar;

	for (n = 0; n < 32u; n++) {
		if (BIT(n) & MEC5_ESPI_IOBAR_MSK_LO) {
			iobar = ESPI_IO->HOST_BAR[n];
			LOG_INF("IOBAR[%u] (%s) = 0x%08x", n, iobar_names[n], iobar);
		}
	}
}

void espi_debug_print_mem_bars(void)
{
	uint32_t n, membar;

	for (n = 0; n < 32u; n++) {
		if (BIT(n) & MEC5_ESPI_MEMBAR_MSK_LO) {
			volatile struct espi_mem_host_mem_bar_regs *m =
				&ESPI_MEM->HOST_MEM_BAR[n];

			membar = m->HOST_MEM_ADDR_B15_0 +
				((uint32_t)m->HOST_MEM_ADDR_B31_16 << 16);
			LOG_INF("MEMBAR[%u] (%s) = 0x%08x valid = %u",
				n, membar_names[n], membar, m->VALID);
		}
	}
}

void espi_debug_print_ctvw(void)
{
	uint32_t r[3];

	for (size_t n = 0; n < MEC5_ESPI_NUM_CTVW; n++) {
		r[0] = ESPI_VW->CTVW[n].HIRSS;
		r[1] = ESPI_VW->CTVW[n].SRC_ISELS;
		r[2] = ESPI_VW->CTVW[n].STATES;
		LOG_INF("CTVW[%u] = 0x%08x:%08x:%08x", n, r[2], r[1], r[0]);
	}
}

void espi_debug_print_tcvw(void)
{
	uint32_t r[2];

	for (size_t n = 0; n < MEC5_ESPI_NUM_TCVW; n++) {
		r[0] = ESPI_VW->TCVW[n].HIRCS;
		r[1] = ESPI_VW->TCVW[n].STATES;
		LOG_INF("TCVW[%u] = 0x%08x:%08x", n, r[1], r[0]);
	}
}

void espi_debug_print_pc(void)
{
	LOG_INF("PC.STATUS = 0x%x", ESPI_IO->PCSTS);
	LOG_INF("PC.IEN    = 0x%x", ESPI_IO->PCIEN);
	LOG_INF("PC.BAR_INHIBIT = 0x%08x:%08x",
		ESPI_IO->PCBINH[1], ESPI_IO->PCBINH[0]);
}

void espi_debug_print_oob(void)
{
	LOG_INF("OOB RX Buf Addr = 0x%x", ESPI_IO->OOBRXA);
	LOG_INF("OOB RX Xfr Len = 0x%x", ESPI_IO->OOBRXL);
	LOG_INF("OOB RX Control = 0x%x", ESPI_IO->OOBRXC);
	LOG_INF("OOB RX IEN = 0x%x", ESPI_IO->OOBRXIEN);
	LOG_INF("OOB RX Status = 0x%x", ESPI_IO->OOBRXSTS);
	LOG_INF("OOB TX Buf Addr = 0x%x", ESPI_IO->OOBTXA);
	LOG_INF("OOB TX Xfr Len = 0x%x", ESPI_IO->OOBTXL);
	LOG_INF("OOB TX Control = 0x%x", ESPI_IO->OOBTXC);
	LOG_INF("OOB TX IEN = 0x%x", ESPI_IO->OOBTXIEN);
	LOG_INF("OOB TX Status = 0x%x", ESPI_IO->OOBTXSTS);
}

static int espi_freq_tbl[] = {20, 25, 33, 50, 66, -1, -1, -1};

static int lookup_espi_freq(uint32_t freq_encoding)
{
	return espi_freq_tbl[freq_encoding & 0x7u];
}

static void pr_io_mode(uint32_t io_mode)
{
	switch (io_mode) {
	case 0:
		LOG_INF("  Single I/O");
		break;
	case 1:
		LOG_INF("  Single and Dual I/O");
		break;
	case 2:
		LOG_INF("  Single and Quad I/O");
		break;
	case 3:
		LOG_INF("  Single, Dual, and Quad I/O");
		break;
	default:
		break;
	}
}

/* eSPI Capabilities 32-bit word 0x4 read by eSPI Host */
static void pr_cap_8(uint32_t cap)
{
	uint32_t temp;

	LOG_INF("eSPI Cap word 0x8: 0x%08x", cap);
	LOG_INF("  b[7:0] supported channels = 0x%02x", cap & 0xffu);
	temp = (cap >> 12) & 0xfu;
	LOG_INF("  b[15:12] max allowed wait states (0=16 byte times) = 0x%02x", temp);
	temp = lookup_espi_freq((cap >> 16));
	LOG_INF("  b[18:16] max supported freq (MHz) = 0x%02x is %u MHz",
		((cap >> 16) & 0x7u), temp);
	LOG_INF("  b[19] = Open drain alert supported = %u", (cap >> 19) & 0x1u);
	temp = lookup_espi_freq((cap >> 20));
	LOG_INF("  b[22:20] selected frequency (MHz) = 0x%02x", temp);
	LOG_INF("  b[19] = Open drain alert selected = %u", (cap >> 23) & 0x1u);
	temp = (cap >> 24) & 0x3u;
	LOG_INF("  b[25:24] = 0x%02x Supported I/O modes", temp);
	pr_io_mode(temp);
	temp = (cap >> 26) & 0x3u;
	LOG_INF("  b[27:26] = 0x%02x Selected I/O mode", temp);
	pr_io_mode(temp);
	temp = (cap >> 28) & 0x1u;
	LOG_INF("  b[28] = %u : eSPI Alert source 0(eSPI IO[1]), 1(separate pin)", temp);
	temp = (cap >> 29) & 0x1u;
	LOG_INF("  b[29] = %u : BMC has integrated RTC 0(no), 1(yes)", temp);
	temp = (cap >> 30) & 0x1u;
	LOG_INF("  b[30] = %u : GET_STATUS response modifier 0(disabled), 1(enabled)", temp);
	temp = (cap >> 31) & 0x1u;
	LOG_INF("  b[31] = %u : CRC packet check 0(disabled), 1(enabled)", temp);
}

static void pr_payload_size(uint32_t sz, uint8_t is_oob)
{
	uint32_t byte_size;

	switch (sz & 0x7u) {
	case 1:
		byte_size = 64u;
		break;
	case 2:
		byte_size = 128u;
		break;
	case 3:
		byte_size = 256u;
		break;
	default:
		byte_size = 0u;
		break;
	}

	if (byte_size) {
		if (is_oob) {
			byte_size += 9u;
		}
		LOG_INF("  %u bytes", byte_size);
	} else {
		LOG_INF("  !!! Reserved value !!!");
	}
}

static void pr_max_read_req_size(uint32_t sz)
{
	uint32_t temp;

	if (sz & 0x7u) {
		temp = 1u << (sz + 5u);
		LOG_INF("  %u bytes", temp);
	} else {
		LOG_INF("  !!! Reserved value !!!");
	}
}

static void pr_cap_10(uint32_t cap)
{
	uint32_t temp;

	LOG_INF("eSPI Cap word 0x10 (Peripheral Channel): 0x%08x", cap);
	LOG_INF("  b[0] = PC Enable = %u", cap & 0x1);
	LOG_INF("  b[1] = PC Ready  = %u", (cap >> 1) & 0x1);
	LOG_INF("  b[2] = BM Enable = %u", (cap >> 2) & 0x1);
	LOG_INF("  b[6:4] = Max supported payload size");
	temp = (cap >> 4) & 0x7u;
	pr_payload_size(temp, 0);
	temp = (cap >> 8) & 0x7u;
	LOG_INF("  b[10:8] = Selected payload size = %u", temp);
	pr_payload_size(temp, 0);
	temp = (cap >> 12) & 0x7u;
	LOG_INF("  b[14:12] = Max read request size = %u", temp);
	pr_max_read_req_size(temp);
}

static void pr_cap_20(uint32_t cap)
{
	uint32_t temp;

	LOG_INF("eSPI Cap work 0x20 (VW Channel): 0x%08x", cap);
	LOG_INF("  b[0] = VW Enable = %u", cap & 0x1u);
	LOG_INF("  b[1] = VW Ready  = %u", (cap >> 1) & 0x1u);
	temp = (cap >> 8) & 0x3fu;
	LOG_INF("  b[13:8] = Max Supported VW groups (0-based) = %u", temp);
	temp = (cap >> 16) & 0x3fu;
	LOG_INF("  b[21:16] = Max Selected VW groups (0-based) = %u", temp);
}

static void pr_cap_30(uint32_t cap)
{
	uint32_t temp;

	LOG_INF("eSPI Cap work 0x30 (OOB Channel): 0x%08x", cap);
	LOG_INF("  b[0] = OOB Enable = %u", cap & 0x1u);
	LOG_INF("  b[1] = OOB Ready  = %u", (cap >> 1) & 0x1u);
	temp = (cap >> 4) & 0x7u;
	LOG_INF("  b[6:4] = Max Supported Payload size = %u", temp);
	pr_payload_size(temp, 1);
	temp = (cap >> 8) & 0x7u;
	LOG_INF("  b[6:4] = Max Selected Payload size = %u", temp);
	pr_payload_size(temp, 1);
}

static void pr_fc_erase_size(uint32_t cap)
{
	uint32_t temp = (cap >> 2) & 0x7u;

	LOG_INF("  b[4:2] = Selected Flash Block Erase Size = 0x%2x", temp);
	switch (temp) {
	case 1:
		LOG_INF("  4KB");
		break;
	case 2:
		LOG_INF("  64KB");
		break;
	case 3:
		LOG_INF("  4KB and 64KB");
		break;
	case 4:
		LOG_INF("  128KB");
		break;
	case 5:
		LOG_INF("  256KB");
		break;
	default:
		LOG_INF("  !!! Reserved value !!!");
		break;
	}
}

static void pr_fc_sharing_support(uint32_t cap)
{
	uint32_t temp = (cap >> 16) & 0x3u;

	switch (temp) {
	case 2:
		LOG_INF("  b[17:16]=10b Supports Target Attached Flash only");
		break;
	case 3:
		LOG_INF("  b[17:16]=11b Supports both Controller and Target Attached Flash");
		break;
	default:
		LOG_INF("  b[17:16]=0x%x Supports Controller Attached Flash only", temp);
		break;
	}
}

static void pr_cap_40(uint32_t cap)
{
	uint32_t temp;

	LOG_INF("eSPI Cap work 0x40 (Flash Channel): 0x%08x", cap);
	LOG_INF("  b[0] = FC Enable = %u", cap & 0x1u);
	LOG_INF("  b[1] = FC Ready  = %u", (cap >> 1) & 0x1u);
	pr_fc_erase_size(cap);
	temp = (cap >> 5) & 0x7u;
	LOG_INF("  b[7:5] = 0x%2x Max Supported Payload size", temp);
	pr_payload_size(temp, 0);
	temp = (cap >> 8) & 0x7u;
	LOG_INF("  b[7:5] = 0x%2x Max Selected Payload size", temp);
	pr_payload_size(temp, 0);
	temp = (cap >> 11) & 0x1u;
	LOG_INF("  b[11] Flash Sharing Mode = %u: 0=Controller Attached, 1=Target Attached", temp);
	temp = (cap >> 12) & 0x7u;
	LOG_INF("  b[14:12] Max Reqd Request Size = 0x%2x", temp);
	pr_max_read_req_size(temp);
	pr_fc_sharing_support(cap);
	temp = (cap >> 20) & 0xfu;
	LOG_INF("  b[23:20] RPMC First Flash Number of Counters = %u", temp);
	temp = (cap >> 24) & 0xffu;
	LOG_INF("  b[31:24] RPMC First Flash OP1 Opcode = 0x%02x", temp);
}

void espi_debug_print_cap_word(uint16_t cap_offset, uint32_t cap)
{
	switch (cap_offset) {
	case 0x4:
		LOG_INF("eSPI Cap word 0x4 b[7:0] version ID = 0x%02x", cap);
		break;
	case 0x8:
		pr_cap_8(cap);
		break;
	case 0x10:
		pr_cap_10(cap);
		break;
	case 0x20:
		pr_cap_20(cap);
		break;
	case 0x30:
		pr_cap_30(cap);
		break;
	case 0x40:
		pr_cap_40(cap);
		break;
	default:
		LOG_ERR("Unknown eSPI cap offset 0x%04x = 0x%08x", cap_offset, cap);
	}
}
```

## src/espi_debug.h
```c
/*
 * Copyright (c) 2023 Microchip Technology, Inc.
 *
 * SPDX-License-Identifier: Apache-2.0
 */

#ifndef __SAMPLES_BOARDS_MEC5_ESPI_DEBUG_H_
#define __SAMPLES_BOARDS_MEC5_ESPI_DEBUG_H_

#include <stdint.h>

void espi_debug_print_config(void);
void espi_debug_print_io_bars(void);
void espi_debug_print_mem_bars(void);
void espi_debug_print_ctvw(void);
void espi_debug_print_tcvw(void);
void espi_debug_print_pc(void);
void espi_debug_print_oob(void);

void espi_debug_print_cap_word(uint16_t cap_offset, uint32_t cap);

#endif /* __SAMPLES_BOARDS_MEC5_ESPI_DEBUG_H_ */
```
